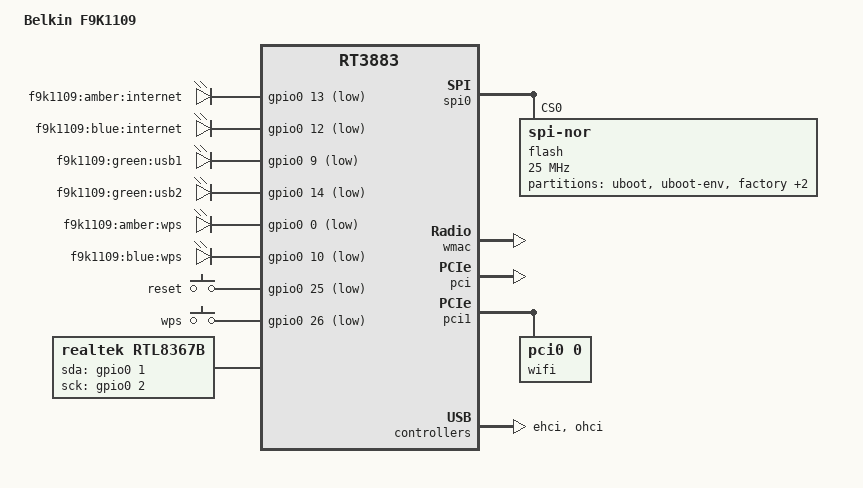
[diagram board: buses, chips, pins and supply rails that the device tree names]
// SPDX-License-Identifier: GPL-2.0-or-later OR MIT
/dts-v1/;

#include "rt3883.dtsi"

#include <dt-bindings/gpio/gpio.h>
#include <dt-bindings/input/input.h>

/ {
	compatible = "belkin,f9k1109", "ralink,rt3883-soc";
	model = "Belkin F9K1109";

	aliases {
		led-boot = &led_status_amber;
		led-failsafe = &led_status_amber;
		led-running = &led_status_blue;
		led-upgrade = &led_status_amber;
	};

	leds {
		compatible = "gpio-leds";

		led_status_amber: internet_amber {
			label = "f9k1109:amber:internet";
			gpios = <&gpio0 13 GPIO_ACTIVE_LOW>;
		};

		led_status_blue: internet_blue {
			label = "f9k1109:blue:internet";
			gpios = <&gpio0 12 GPIO_ACTIVE_LOW>;
		};

		usb1 {
			label = "f9k1109:green:usb1";
			gpios = <&gpio0 9 GPIO_ACTIVE_LOW>;
		};

		usb2 {
			label = "f9k1109:green:usb2";
			gpios = <&gpio0 14 GPIO_ACTIVE_LOW>;
		};

		wps_amber {
			label = "f9k1109:amber:wps";
			gpios = <&gpio0 0 GPIO_ACTIVE_LOW>;
		};

		wps_blue {
			label = "f9k1109:blue:wps";
			gpios = <&gpio0 10 GPIO_ACTIVE_LOW>;
		};

	};

	keys {
		compatible = "gpio-keys-polled";
		poll-interval = <100>;

		reset {
			label = "reset";
			gpios = <&gpio0 25 GPIO_ACTIVE_LOW>;
			linux,code = <KEY_RESTART>;
		};

		wps {
			label = "wps";
			gpios = <&gpio0 26 GPIO_ACTIVE_LOW>;
			linux,code = <KEY_WPS_BUTTON>;
		};
	};

	rtl8367b {
		compatible = "realtek,rtl8367b";
		gpio-sda = <&gpio0 1 GPIO_ACTIVE_HIGH>;
		gpio-sck = <&gpio0 2 GPIO_ACTIVE_HIGH>;
		realtek,extif1 = <1 0 1 1 1 1 1 1 2>;
	};

};

&gpio1 {
	status = "okay";
};

&spi0 {
	status = "okay";

	flash@0 {
		compatible = "jedec,spi-nor";
		reg = <0>;
		spi-max-frequency = <25000000>;

		partitions {
			compatible = "fixed-partitions";
			#address-cells = <1>;
			#size-cells = <1>;

			partition@0 {
				label = "uboot";
				reg = <0x0 0x30000>;
				read-only;
			};

			partition@30000 {
				label = "uboot-env";
				reg = <0x30000 0x10000>;
				read-only;
			};

			factory: partition@40000 {
				label = "factory";
				reg = <0x40000 0x10000>;
				read-only;
			};

			partition@50000 {
				compatible = "denx,uimage";
				label = "firmware";
				reg = <0x50000 0x7a0000>;
			};

			partition@7f0000 {
				label = "user-cfg";
				reg = <0x7f0000 0x10000>;
				read-only;
			};
		};
	};
};

&ethernet {
	port@0 {
		mediatek,fixed-link = <1000 1 1 1>;
		phy-mode = "rgmii";
	};
};

&pinctrl {
	state_default: pinctrl0 {
		gpio {
			ralink,group = "i2c", "jtag", "uartf";
			ralink,function = "gpio";
		};
	};
};

&wmac {
	status = "okay";
	ralink,mtd-eeprom = <&factory 0>;
};

&pci {
	status = "okay";
};

&pci1 {
	status = "okay";

	wifi@0,0 {
		compatible = "pci0,0";
		reg = <0x10000 0 0 0 0>;
		ralink,5ghz = <0>;
		ralink,mtd-eeprom = <&factory 0x8000>;
	};
};

&ehci {
	status = "okay";
};

&ohci {
	status = "okay";
};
